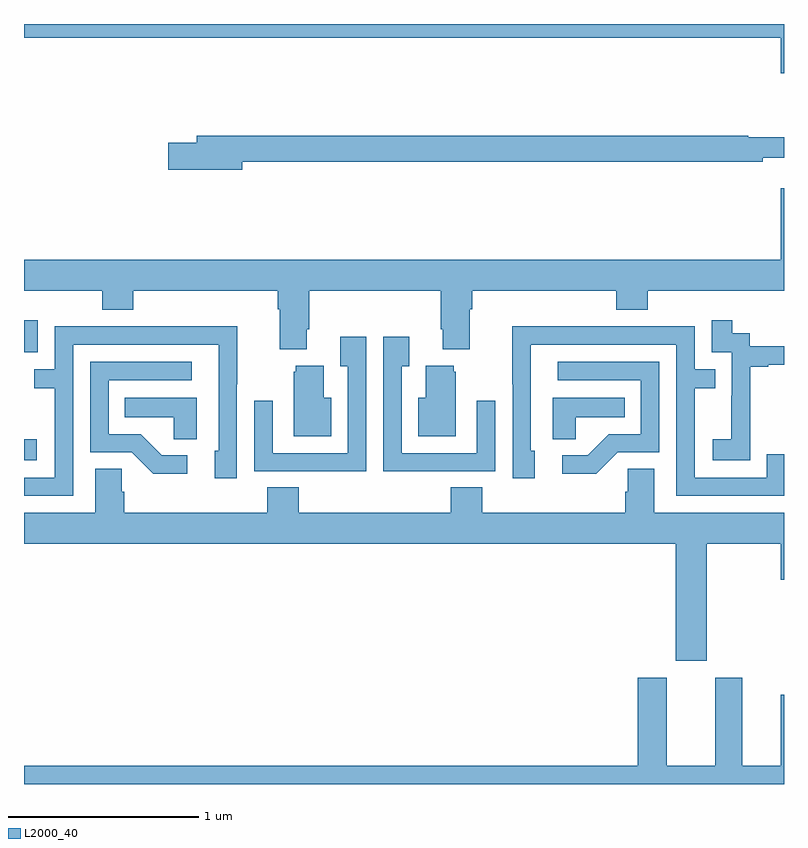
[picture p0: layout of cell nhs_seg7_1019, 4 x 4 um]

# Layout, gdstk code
import gdstk
lib = gdstk.Library(unit=1e-6, precision=1e-09)
def R(c, l, rs):  # rectangles x0, y0, x1, y1
    for r in rs: c.add(gdstk.rectangle(r[:2], r[2:], *l))
def P(c, l, *ps):  # polygons
    for p in ps: c.add(gdstk.Polygon(p, *l))
L2000_40 = (2000, 40)

nhs_seg7_1019 = lib.new_cell('nhs_seg7_1019')
R(nhs_seg7_1019, L2000_40, [(185,1019.705,185.068,1019.815), (185,1020.273,185.073,1020.442)])
P(nhs_seg7_1019, L2000_40, [(189,1022),(185,1022),(185,1021.928),(188.984,1021.928),(188.984,1021.74),(189,1021.74)],
  [(186.148,1021.276),(188.888,1021.276),(188.888,1021.295),(189,1021.295),(189,1021.405),(188.813,1021.405),(188.813,1021.412),(185.909,1021.412),(185.909,1021.376),(185.76,1021.376),(185.76,1021.234),(186.148,1021.234)],
  [(186.487,1020.394),(186.5,1020.394),(186.5,1020.596),(187.193,1020.596),(187.193,1020.394),(187.205,1020.394),(187.205,1020.287),(187.345,1020.287),(187.345,1020.5),(187.358,1020.5),(187.358,1020.596),(188.117,1020.596),(188.117,1020.497),(188.282,1020.497),(188.282,1020.596),(189,1020.596),(189,1021.135),(188.984,1021.135),(188.984,1020.76),(185,1020.76),(185,1020.596),(185.411,1020.596),(185.411,1020.497),(185.576,1020.497),(185.576,1020.596),(186.335,1020.596),(186.335,1020.5),(186.347,1020.5),(186.347,1020.287),(186.487,1020.287)],
  [(188.823,1019.911),(188.822,1019.911),(188.822,1020.195),(188.917,1020.195),(188.917,1020.207),(189,1020.207),(189,1020.303),(188.82,1020.303),(188.82,1020.372),(188.728,1020.372),(188.728,1020.442),(188.619,1020.442),(188.619,1020.273),(188.724,1020.273),(188.724,1020.044),(188.723,1020.044),(188.723,1019.815),(188.625,1019.815),(188.625,1019.705),(188.823,1019.705)],
  [(185.259,1020.312),(186.024,1020.312),(186.024,1019.754),(186.005,1019.754),(186.005,1019.61),(186.12,1019.61),(186.12,1020.103),(186.123,1020.103),(186.123,1020.41),(185.659,1020.41),(185.659,1020.408),(185.163,1020.408),(185.163,1020.183),(185.053,1020.183),(185.053,1020.082),(185.163,1020.082),(185.163,1019.613),(185,1019.613),(185,1019.517),(185.259,1019.517)],
  [(189,1019.736),(188.91,1019.736),(188.91,1019.613),(188.529,1019.613),(188.529,1020.082),(188.639,1020.082),(188.639,1020.183),(188.529,1020.183),(188.529,1020.408),(188.033,1020.408),(188.033,1020.41),(187.57,1020.41),(187.57,1020.103),(187.572,1020.103),(187.572,1019.61),(187.687,1019.61),(187.687,1019.754),(187.668,1019.754),(187.668,1020.312),(188.433,1020.312),(188.433,1019.517),(189,1019.517)],
  [(186.801,1020.355),(186.665,1020.355),(186.665,1020.199),(186.705,1020.199),(186.705,1019.742),(186.309,1019.742),(186.309,1020.016),(186.213,1020.016),(186.213,1019.646),(186.529,1019.646),(186.529,1019.645),(186.801,1019.645)],
  [(187.163,1019.646),(187.479,1019.646),(187.479,1020.016),(187.383,1020.016),(187.383,1019.742),(186.987,1019.742),(186.987,1020.199),(187.027,1020.199),(187.027,1020.355),(186.891,1020.355),(186.891,1019.645),(187.163,1019.645)],
  [(188.124,1019.745),(188.343,1019.745),(188.343,1020.222),(187.809,1020.222),(187.809,1020.126),(188.247,1020.126),(188.247,1019.841),(188.078,1019.841),(187.967,1019.73),(187.833,1019.73),(187.833,1019.633),(188.011,1019.633)],
  [(185.86,1019.73),(185.725,1019.73),(185.614,1019.841),(185.445,1019.841),(185.445,1020.126),(185.884,1020.126),(185.884,1020.222),(185.349,1020.222),(185.349,1019.745),(185.568,1019.745),(185.681,1019.633),(185.86,1019.633)],
  [(187.273,1020.171),(187.262,1020.171),(187.262,1020.202),(187.115,1020.202),(187.115,1020.034),(187.076,1020.034),(187.076,1019.831),(187.273,1019.831)],
  [(186.616,1020.034),(186.577,1020.034),(186.577,1020.202),(186.431,1020.202),(186.431,1020.171),(186.419,1020.171),(186.419,1019.831),(186.616,1019.831)],
  [(187.905,1019.93),(188.162,1019.93),(188.162,1020.034),(187.784,1020.034),(187.784,1019.815),(187.905,1019.815)],
  [(185.908,1020.034),(185.53,1020.034),(185.53,1019.93),(185.787,1019.93),(185.787,1019.815),(185.908,1019.815)],
  [(188.593,1019.264),(188.984,1019.264),(188.984,1019.076),(189,1019.076),(189,1019.428),(188.317,1019.428),(188.317,1019.66),(188.178,1019.66),(188.178,1019.537),(188.165,1019.537),(188.165,1019.428),(187.412,1019.428),(187.412,1019.561),(187.247,1019.561),(187.247,1019.428),(186.446,1019.428),(186.446,1019.561),(186.281,1019.561),(186.281,1019.428),(185.528,1019.428),(185.528,1019.537),(185.514,1019.537),(185.514,1019.66),(185.375,1019.66),(185.375,1019.428),(185,1019.428),(185,1019.264),(188.429,1019.264),(188.429,1018.65),(188.593,1018.65)],
  [(189,1018.471),(188.984,1018.471),(188.984,1018.096),(188.779,1018.096),(188.779,1018.558),(188.639,1018.558),(188.639,1018.096),(188.383,1018.096),(188.383,1018.558),(188.231,1018.558),(188.231,1018.096),(185,1018.096),(185,1018),(189,1018)])

lib.write_gds('nhs_seg7_1019.gds')
